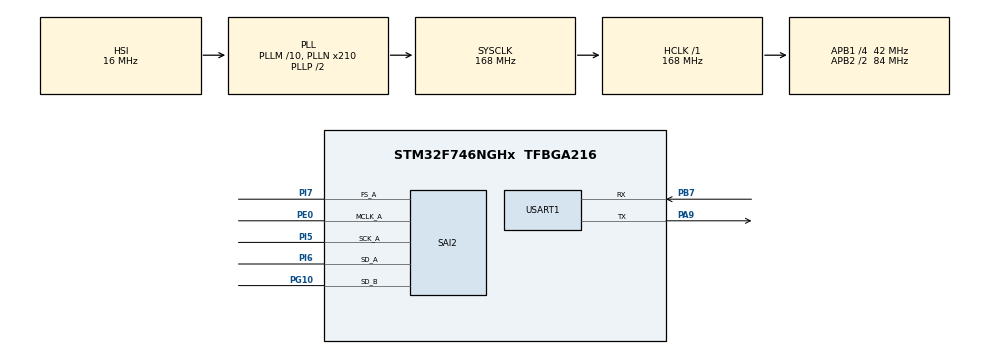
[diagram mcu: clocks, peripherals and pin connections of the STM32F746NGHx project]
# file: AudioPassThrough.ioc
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Dma.Request0=SAI2_A
Dma.Request1=SAI2_B
Dma.SAI2_A.0.Direction=DMA_MEMORY_TO_PERIPH
Dma.SAI2_A.0.FIFOMode=DMA_FIFOMODE_DISABLE
Dma.SAI2_A.0.Instance=DMA2_Stream4
Dma.SAI2_A.0.MemDataAlignment=DMA_MDATAALIGN_BYTE
Dma.SAI2_A.0.MemInc=DMA_MINC_ENABLE
Dma.SAI2_A.0.Mode=DMA_CIRCULAR
Dma.SAI2_A.0.PeriphDataAlignment=DMA_PDATAALIGN_BYTE
Dma.SAI2_A.0.PeriphInc=DMA_PINC_DISABLE
Dma.SAI2_A.0.Priority=DMA_PRIORITY_HIGH
Dma.SAI2_B.1.Direction=DMA_PERIPH_TO_MEMORY
Dma.SAI2_B.1.FIFOMode=DMA_FIFOMODE_DISABLE
Dma.SAI2_B.1.Instance=DMA2_Stream6
Dma.SAI2_B.1.MemDataAlignment=DMA_MDATAALIGN_HALFWORD
Dma.SAI2_B.1.MemInc=DMA_MINC_ENABLE
Dma.SAI2_B.1.Mode=DMA_CIRCULAR
Dma.SAI2_B.1.PeriphDataAlignment=DMA_PDATAALIGN_HALFWORD
Dma.SAI2_B.1.PeriphInc=DMA_PINC_DISABLE
Dma.SAI2_B.1.Priority=DMA_PRIORITY_HIGH
Mcu.Family=STM32F7
Mcu.Name=STM32F746NGHx
Mcu.Package=TFBGA216
NVIC.DMA2_Stream4_IRQn=true\:0\:0\:false\:false\:true\:false\:true\:true
NVIC.DMA2_Stream6_IRQn=true\:0\:0\:false\:false\:true\:false\:true\:true
NVIC.PriorityGroup=NVIC_PRIORITYGROUP_4
PA13.Mode=Serial_Wire
PA13.Signal=SYS_JTMS-SWDIO
PA14.Mode=Serial_Wire
PA14.Signal=SYS_JTCK-SWCLK
PA9.Mode=Asynchronous
PA9.Signal=USART1_TX
PB7.Mode=Asynchronous
PB7.Signal=USART1_RX
PC14/OSC32_IN.Mode=LSE-External-Oscillator
PC14/OSC32_IN.Signal=RCC_OSC32_IN
PC15/OSC32_OUT.Mode=LSE-External-Oscillator
PC15/OSC32_OUT.Signal=RCC_OSC32_OUT
PE0.Mode=SAI_A_MasterWithClock
PE0.Signal=SAI2_MCLK_A
PG10.Mode=SAI_B_SyncSlave
PG10.Signal=SAI2_SD_B
PH0/OSC_IN.Mode=HSE-External-Oscillator
PH0/OSC_IN.Signal=RCC_OSC_IN
PH1/OSC_OUT.Mode=HSE-External-Oscillator
PH1/OSC_OUT.Signal=RCC_OSC_OUT
PI5.Mode=SAI_A_MasterWithClock
PI5.Signal=SAI2_SCK_A
PI6.Mode=SAI_A_MasterWithClock
PI6.Signal=SAI2_SD_A
PI7.Mode=SAI_A_MasterWithClock
PI7.Signal=SAI2_FS_A
ProjectManager.HeapSize=0x200
ProjectManager.StackSize=0x400
ProjectManager.TargetToolchain=CMake
RCC.AHBFreq_Value=168000000
RCC.APB1CLKDivider=RCC_HCLK_DIV4
RCC.APB1Freq_Value=42000000
RCC.APB1TimFreq_Value=84000000
RCC.APB2CLKDivider=RCC_HCLK_DIV2
RCC.APB2Freq_Value=84000000
RCC.APB2TimFreq_Value=168000000
RCC.CortexFreq_Value=168000000
RCC.HCLKFreq_Value=168000000
RCC.HSE_VALUE=25000000
RCC.HSI_VALUE=16000000
RCC.PLLM=10
RCC.PLLN=210
RCC.PLLSourceVirtual=RCC_PLLSOURCE_HSI
RCC.SYSCLKFreq_VALUE=168000000
RCC.SYSCLKSource=RCC_SYSCLKSOURCE_PLLCLK
RCC.USBFreq_Value=168000000
RCC.VCOOutputFreq_Value=336000000
SAI2.ErrorAudioFreq-SAI_A_MasterWithClock=56.25 %
SAI2.Instance-SAI_A_MasterWithClock=SAI$Index_Block_A
SAI2.Instance-SAI_B_SyncSlave=SAI$Index_Block_B
SAI2.MClockEnable-SAI_A_MasterWithClock=SAI_MASTERCLOCK_ENABLE
SAI2.RealAudioFreq-SAI_A_MasterWithClock=300.0 KHz
SAI2.VirtualMode-SAI_A_MasterWithClock=VM_MASTER
SAI2.VirtualMode-SAI_B_SyncSlave=VM_SLAVE
USART1.VirtualMode-Asynchronous=VM_ASYNC
VP_TIM1_VS_ClockSourceINT.Mode=Internal
board=STM32F746G-DISCO

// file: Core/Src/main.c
/* USER CODE BEGIN Header */
/**
  ******************************************************************************
  * @file           : main.c
  * @brief          : Main program body
  ******************************************************************************
  * @attention
  *
  * Copyright (c) 2024 STMicroelectronics.
  * All rights reserved.
  *
  * This software is licensed under terms that can be found in the LICENSE file
  * in the root directory of this software component.
  * If no LICENSE file comes with this software, it is provided AS-IS.
  *
  ******************************************************************************
  */
/* USER CODE END Header */
#include "main.h"
#include "dma.h"
#include "sai.h"
#include "tim.h"
#include "usart.h"
#include "gpio.h"

/* USER CODE BEGIN Includes */
#include <stdio.h>
#include "stm32746g_discovery_audio.h"
/* USER CODE END Includes */

/* USER CODE BEGIN PD */
// Printf
#define PUTCHAR_PROTOTYPE int __io_putchar(int ch)
// Buffer
#define PCM_BUFFER_SIZE 8192
// Flags
#define BUFFER_NONE 0
#define BUFFER_HALF_FULL 1
#define BUFFER_FULL 2
/* USER CODE END PD */

/* USER CODE BEGIN PV */
// Buffers
uint16_t PlayBuffer[PCM_BUFFER_SIZE];
uint16_t RecordBuffer[PCM_BUFFER_SIZE];
// Flags
uint8_t BUFFER_STATE = BUFFER_NONE;
/* USER CODE END PV */

void SystemClock_Config(void);
void PeriphCommonClock_Config(void);
/* USER CODE BEGIN PFP */
void CopyBuffer(uint16_t *dest, uint16_t *orig, size_t size);
/* USER CODE END PFP */

int main(void)
{

  /* USER CODE BEGIN 1 */
  // Generate Square Wave
  // int frequency = 440;
  // int samplingRate = 48000;
  // int samplesPerPeriod = samplingRate / frequency;
  // for (size_t i = 0; i < PCM_BUFFER_SIZE; i++)
  // {
  //   if ((i % samplesPerPeriod) < samplesPerPeriod / 2)
  //   {
  //     PlayBuffer[i] = 500;
  //   }
  //   else
  //   {
  //     PlayBuffer[i] = 0;
  //   }
  // }
  /* USER CODE END 1 */

  /* MCU Configuration--------------------------------------------------------*/

  /* Reset of all peripherals, Initializes the Flash interface and the Systick. */
  HAL_Init();

  /* Configure the system clock */
  SystemClock_Config();

/* Configure the peripherals common clocks */
  PeriphCommonClock_Config();

  /* Initialize all configured peripherals */
  MX_GPIO_Init();
  MX_DMA_Init();
  MX_SAI2_Init();
  MX_TIM1_Init();
  MX_USART1_UART_Init();
  /* USER CODE BEGIN 2 */
  BSP_AUDIO_IN_OUT_Init(INPUT_DEVICE_INPUT_LINE_1, OUTPUT_DEVICE_HEADPHONE, AUDIO_FREQUENCY_48K, DEFAULT_AUDIO_IN_BIT_RESOLUTION, 2);

  BSP_AUDIO_IN_SetVolume(30);
  BSP_AUDIO_IN_Record(RecordBuffer, PCM_BUFFER_SIZE);

  BSP_AUDIO_OUT_SetVolume(30);
  BSP_AUDIO_OUT_Play(PlayBuffer, PCM_BUFFER_SIZE * 2);

  /* USER CODE END 2 */

  /* Infinite loop */
  /* USER CODE BEGIN WHILE */
  while (1)
  {
    if (BUFFER_STATE == BUFFER_HALF_FULL)
    {
      CopyBuffer(PlayBuffer, RecordBuffer, PCM_BUFFER_SIZE / 2);
      BUFFER_STATE = BUFFER_NONE;
    }
    else if (BUFFER_STATE == BUFFER_FULL)
    {
      CopyBuffer(PlayBuffer + PCM_BUFFER_SIZE / 2, RecordBuffer + PCM_BUFFER_SIZE / 2, PCM_BUFFER_SIZE / 2);
      BUFFER_STATE = BUFFER_NONE;
    }
    /* USER CODE END WHILE */

  }
}

void SystemClock_Config(void)
{
  RCC_OscInitTypeDef RCC_OscInitStruct = {0};
  RCC_ClkInitTypeDef RCC_ClkInitStruct = {0};

  /** Configure LSE Drive Capability
  */
  HAL_PWR_EnableBkUpAccess();

  /** Configure the main internal regulator output voltage
  */
  __HAL_RCC_PWR_CLK_ENABLE();
  __HAL_PWR_VOLTAGESCALING_CONFIG(PWR_REGULATOR_VOLTAGE_SCALE2);

  /** Initializes the RCC Oscillators according to the specified parameters
  * in the RCC_OscInitTypeDef structure.
  */
  RCC_OscInitStruct.OscillatorType = RCC_OSCILLATORTYPE_HSI;
  RCC_OscInitStruct.HSIState = RCC_HSI_ON;
  RCC_OscInitStruct.HSICalibrationValue = RCC_HSICALIBRATION_DEFAULT;
  RCC_OscInitStruct.PLL.PLLState = RCC_PLL_ON;
  RCC_OscInitStruct.PLL.PLLSource = RCC_PLLSOURCE_HSI;
  RCC_OscInitStruct.PLL.PLLM = 10;
  RCC_OscInitStruct.PLL.PLLN = 210;
  RCC_OscInitStruct.PLL.PLLP = RCC_PLLP_DIV2;
  RCC_OscInitStruct.PLL.PLLQ = 2;
  if (HAL_RCC_OscConfig(&RCC_OscInitStruct) != HAL_OK)
  {
    Error_Handler();
  }

  /** Initializes the CPU, AHB and APB buses clocks
  */
  RCC_ClkInitStruct.ClockType = RCC_CLOCKTYPE_HCLK|RCC_CLOCKTYPE_SYSCLK
                              |RCC_CLOCKTYPE_PCLK1|RCC_CLOCKTYPE_PCLK2;
  RCC_ClkInitStruct.SYSCLKSource = RCC_SYSCLKSOURCE_PLLCLK;
  RCC_ClkInitStruct.AHBCLKDivider = RCC_SYSCLK_DIV1;
  RCC_ClkInitStruct.APB1CLKDivider = RCC_HCLK_DIV4;
  RCC_ClkInitStruct.APB2CLKDivider = RCC_HCLK_DIV2;

  if (HAL_RCC_ClockConfig(&RCC_ClkInitStruct, FLASH_LATENCY_5) != HAL_OK)
  {
    Error_Handler();
  }
}

void PeriphCommonClock_Config(void)
{
  RCC_PeriphCLKInitTypeDef PeriphClkInitStruct = {0};

  /** Initializes the peripherals clock
  */
  PeriphClkInitStruct.PeriphClockSelection = RCC_PERIPHCLK_SAI2;
  PeriphClkInitStruct.PLLSAI.PLLSAIN = 192;
  PeriphClkInitStruct.PLLSAI.PLLSAIR = 2;
  PeriphClkInitStruct.PLLSAI.PLLSAIQ = 2;
  PeriphClkInitStruct.PLLSAI.PLLSAIP = RCC_PLLSAIP_DIV2;
  PeriphClkInitStruct.PLLSAIDivQ = 1;
  PeriphClkInitStruct.PLLSAIDivR = RCC_PLLSAIDIVR_2;
  PeriphClkInitStruct.Sai2ClockSelection = RCC_SAI2CLKSOURCE_PLLSAI;
  if (HAL_RCCEx_PeriphCLKConfig(&PeriphClkInitStruct) != HAL_OK)
  {
    Error_Handler();
  }
}

/* USER CODE BEGIN 4 */
PUTCHAR_PROTOTYPE
{
  HAL_UART_Transmit(&huart1, (uint8_t *)&ch, 1, 0xFFFF);
  return ch;
}
void CopyBuffer(uint16_t *dest, uint16_t *orig, size_t size)
{
  uint16_t noise_threshold = 500;
  for (size_t i = 0; i < size; i++)
  {
    dest[i] = orig[i];
  }
}
void BSP_AUDIO_IN_HalfTransfer_CallBack()
{
  BUFFER_STATE = BUFFER_HALF_FULL;
}
void BSP_AUDIO_IN_TransferComplete_CallBack()
{
  BUFFER_STATE = BUFFER_FULL;
}
/* USER CODE END 4 */

void Error_Handler(void)
{
  __disable_irq();
  while (1)
  {
  }
}
